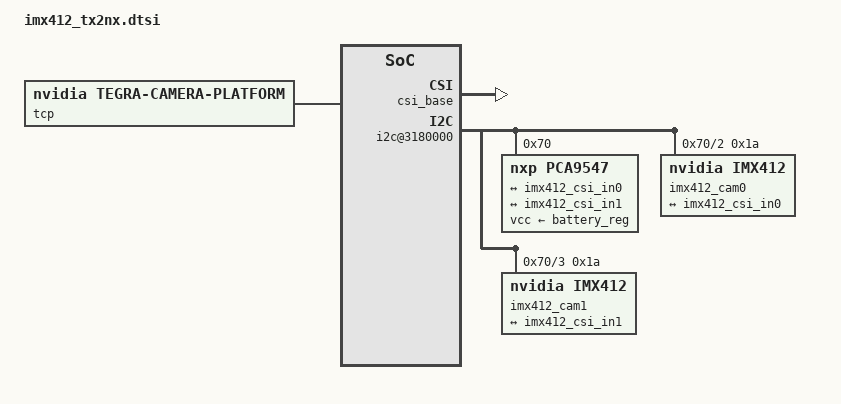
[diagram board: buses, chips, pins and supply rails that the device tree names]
/*
 * Copyright (c) 2018-2019, NVIDIA CORPORATION.  All rights reserved.
 *
 * This program is free software; you can redistribute it and/or modify
 * it under the terms of the GNU General Public License as published by
 * the Free Software Foundation; either version 2 of the License, or
 * (at your option) any later version.
 *
 * This program is distributed in the hope that it will be useful, but WITHOUT
 * ANY WARRANTY; without even the implied warranty of MERCHANTABILITY or
 * FITNESS FOR A PARTICULAR PURPOSE.  See the GNU General Public License for
 * more details.
 *
 * You should have received a copy of the GNU General Public License
 * along with this program.  If not, see <http://www.gnu.org/licenses/>.
 */

#define CAMERA_I2C_MUX_BUS(x) (0x1E + x)
#define NUM_LANES       2   /* CCC - imx412.dtsi - number of lanes: 2 or 4 */

#include <dt-bindings/media/camera.h>
#include <dt-bindings/platform/t210/t210.h>

#define CAM1_PWDN       TEGRA_GPIO(S, 7)
#define CAM2_PWDN       TEGRA_GPIO(T, 0)
#define CAM_I2C_MUX TEGRA_GPIO(I, 0) // NFC_EN GPIO


/*
Jetson Nano dual-port I2C busses:
aliases {
    i2c0 = "/i2c@7000c000";
    i2c1 = "/i2c@7000c400";
    i2c2 = "/i2c@7000c500";
    i2c3 = "/i2c@7000c700";
    i2c4 = "/i2c@7000d000";
    i2c5 = "/i2c@7000d100";
    i2c6 = "/host1x/i2c@546c0000";
    i2c7 = "/cam_i2cmux/i2c@0"
    i2c8 = "/cam_i2cmux/i2c@1"

};
*/
/ {
	host1x {
		sb3d_version = "1.2";
        vi_base: vi {			
	    status = "okay";
            num-channels = <2>;
            ports {
                #address-cells = <1>;
                #size-cells = <0>;
                vi_port0: port@0 {
                    reg = <0>;
                    imx412_vi_in0: endpoint {
                        port-index = <0>;
                        bus-width = <NUM_LANES>;
                        remote-endpoint = <&imx412_csi_out0>;
                    };
                };
                vi_port1: port@1 {
                    reg = <1>;
                    imx412_vi_in1: endpoint {
                        port-index = <4>;
                        bus-width = <NUM_LANES>;
                        remote-endpoint = <&imx412_csi_out1>;
                    };
                };
            };
        };

        csi_base: nvcsi {
            status = "okay";
	    num-channels = <2>;
            #address-cells = <1>;
            #size-cells = <0>;
            csi_chan0: channel@0 {
                reg = <0>;
                ports {
		    status = "okay";
                    #address-cells = <1>;
                    #size-cells = <0>;
                    csi_chan0_port0: port@0 {
                        status = "okay";
                        reg = <0>;
                        imx412_csi_in0: endpoint@0 {
                            port-index = <0>;
                            bus-width = <NUM_LANES>;
                            remote-endpoint = <&imx412_out0>;
                        };
                    };
                    csi_chan0_port1: port@1 {
                        status = "okay";
                        reg = <1>;
                        imx412_csi_out0: endpoint@1 {
                            remote-endpoint = <&imx412_vi_in0>;
                        };
                    };
                };
            };
            csi_chan1: channel@1 {
                status = "okay";
                reg = <1>;
                ports {
                    status = "okay";
                    #address-cells = <1>;
                    #size-cells = <0>;
                    csi_chan1_port0: port@2 {
                        status = "okay";
                        reg = <0>;
                        imx412_csi_in1: endpoint@2 {
                            port-index = <4>;
                            bus-width = <NUM_LANES>;
                            remote-endpoint = <&imx412_out1>;
                        };
                    };
                    csi_chan1_port1: port@3 {
                        status = "okay";
                        reg = <1>;
                        imx412_csi_out1: endpoint@1 {
                            remote-endpoint = <&imx412_vi_in1>;
                        };
                    };
                };
            };
        };
	};
	i2c@3180000 {
	 pca9547@70 {
		compatible = "nxp,pca9547";
        status = "okay";
		#address-cells = <1>;
		#size-cells = <0>;
		reg = <0x70>;
        vcc-supply = <&battery_reg>;
        force_bus_start = <CAMERA_I2C_MUX_BUS(0)>;

        imx412_i2c_2: i2c@2 {
            status = "okay";
            reg = <2>;
            i2c-mux,deselect-on-exit;
            #address-cells = <1>;
            #size-cells = <0>;

            imx412_cam0: imx412_a@1a {
                status = "okay";
				compatible = "nvidia,imx412";
                reg = <0x1a>;       /* I2C device address */
                physical_w = "6.249";
                physical_h = "4.712";
                sensor_model = "imx412";

                use_sensor_mode_id = "false"; // "true";

                devnode = "video0";
	//			reset-gpios = <&gpio CAM1_PWDN GPIO_ACTIVE_HIGH>;

                ports {
                    status = "okay";
                    #address-cells = <1>;
                    #size-cells = <0>;
                   
		    port@0 {
                        status = "okay";
                        reg = <0>;
                        imx412_out0: endpoint {
                            status = "okay";
                            port-index = <0>;
                            bus-width = <NUM_LANES>;
                            remote-endpoint = <&imx412_csi_in0>;
                        };
                    };
		};


                mode0 { // IMX412_MODE_4056X3040 20 FPS
                    status = "okay";
                    mclk_khz = "24000";
#if NUM_LANES == 4
                    num_lanes = "4";
#else
                    num_lanes = "2";
#endif
                    tegra_sinterface = "serial_a";
                    phy_mode = "DPHY";
                    discontinuous_clk = "no"; // "yes";
                    dpcm_enable = "false";
                    cil_settletime = "0";

                    active_w = "4032";
                    active_h = "3040";
                    pixel_t = "bayer_rggb";
//
                    readout_orientation = "90";
                    line_length = "4184";
                    inherent_gain = "1";
                    mclk_multiplier = "9.33";
                    pix_clk_hz = "182400000";
             //       pix_clk_hz = "364800000";
                   // 4032 * 3040 * 20 = 245145600 * 2 (2-bytes/pixel) = 490291200
//                    pix_clk_hz = "245145600";

                    gain_factor = "16";
                    min_gain_val = "256"; /* 1.00x */
                    max_gain_val = "4095"; /* 10.66x */
                    step_gain_val = "1";
                    default_gain = "256"; /* 1.00x */

                    min_hdr_ratio = "1";
                    max_hdr_ratio = "1";


                    framerate_factor = "1000000";
                    min_framerate = "4000000"; /* 4.0 fps */
                    max_framerate = "40000000"; /* 40.0 fps */
                    step_framerate = "1";
                    default_framerate = "20000000"; /* 20.0 fps */

                    exposure_factor = "1000000";
                    min_exp_time = "22";       /* us */
                    max_exp_time = "92693";    /* us */
                    step_exp_time = "1";
                    default_exp_time = "4000"; /* us */

                    embedded_metadata_height = "0";   // 219: "2"
                };        
            };
        };     

        imx412_i2c_3: i2c@3 {
            status = "okay";
            reg = <3>;
            i2c-mux,deselect-on-exit;
            #address-cells = <1>;
            #size-cells = <0>;

            imx412_cam1: imx412_b@1a {
                status = "okay";
                compatible = "nvidia,imx412";
                reg = <0x1a>;       /* I2C device address */
                physical_w = "6.249";
                physical_h = "4.712";
                sensor_model = "imx412";

                use_sensor_mode_id = "false"; // "true";

                devnode = "video1";
	//			reset-gpios = <&gpio CAM2_PWDN GPIO_ACTIVE_HIGH>;

                ports {
                    status = "okay";
                    #address-cells = <1>;
                    #size-cells = <0>;

                    port@0 {
                        status = "okay";
                        reg = <0>;
                        imx412_out1: endpoint {
                            status = "okay";
                            port-index = <0>;
                            bus-width = <NUM_LANES>;
                            remote-endpoint = <&imx412_csi_in1>;
                        };
                    };
                };


                mode0 { // IMX412_MODE_4056X3040 20 FPS
                    status = "okay";
                    mclk_khz = "24000";
#if NUM_LANES == 4
                    num_lanes = "4";
#else
                    num_lanes = "2";
#endif
                    tegra_sinterface = "serial_c";
                    phy_mode = "DPHY";
                    discontinuous_clk = "no"; // "yes";
                    dpcm_enable = "false";
                    cil_settletime = "0";

                    active_w = "4032";
                    active_h = "3040";
                    pixel_t = "bayer_rggb";
//
                    readout_orientation = "90";
                    line_length = "4184";
                    inherent_gain = "1";
                    mclk_multiplier = "9.33";
                    pix_clk_hz = "182400000";
             //       pix_clk_hz = "364800000";
                   // 4032 * 3040 * 20 = 245145600 * 2 (2-bytes/pixel) = 490291200
//                    pix_clk_hz = "245145600";

                    gain_factor = "16";
                    min_gain_val = "256"; /* 1.00x */
                    max_gain_val = "4095"; /* 10.66x */
                    step_gain_val = "1";
                    default_gain = "256"; /* 1.00x */

                    min_hdr_ratio = "1";
                    max_hdr_ratio = "1";


                    framerate_factor = "1000000";
                    min_framerate = "10000000"; /* 10.0 fps */
                    max_framerate = "20000000"; /* 20.0 fps */
                    step_framerate = "1";
                    default_framerate = "20000000"; /* 20.0 fps */

                    exposure_factor = "1000000";
                    min_exp_time = "22";       /* us */
                    max_exp_time = "92693";    /* us */
                    step_exp_time = "1";
                    default_exp_time = "4000"; /* us */

                    embedded_metadata_height = "0";   // 219: "2"
               };
            };
        };
    };
    };

};

/ {
    tcp: tegra-camera-platform {
        status = "okay";
        compatible = "nvidia, tegra-camera-platform";

        /**
        * Physical settings to calculate max ISO BW
        *
        * num_csi_lanes = <>;
        * Total number of CSI lanes when all cameras are active
        *
        * max_lane_speed = <>;
        * Max lane speed in Kbit/s
        *
        * min_bits_per_pixel = <>;
        * Min bits per pixel
        *
        * vi_peak_byte_per_pixel = <>;
        * Max byte per pixel for the VI ISO case
        *
        * vi_bw_margin_pct = <>;
        * Vi bandwidth margin in percentage
        *
        * max_pixel_rate = <>;
        * Max pixel rate in Kpixel/s for the ISP ISO case
        *
        * isp_peak_byte_per_pixel = <>;
        * Max byte per pixel for the ISP ISO case
        *
        * isp_bw_margin_pct = <>;
        * Isp bandwidth margin in percentage
        */
        num_csi_lanes = <8>;
        max_lane_speed = <1500000>;
        min_bits_per_pixel = <10>;
        vi_peak_byte_per_pixel = <2>;
        vi_bw_margin_pct = <25>;
        max_pixel_rate = <240000>;
        isp_peak_byte_per_pixel = <5>;
        isp_bw_margin_pct = <25>;

        /**
         * The general guideline for naming badge_info contains 3 parts, and is as follows,
         * The first part is the camera_board_id for the module; if the module is in a FFD
         * platform, then use the platform name for this part.
         * The second part contains the position of the module, ex. "rear" or "front".
         * The third part contains the last 6 characters of a part number which is found
         * in the module's specsheet from the vendor.
         */
        modules {
	    status = "okay";
            cam_module0: module0 {
 		status = "okay";
                badge = "porg_front_RBPCV2";
                position = "front";
                orientation = "0";
                cam_module0_drivernode0: drivernode0 {
        	    /* Declare PCL support driver (classically known as guid)  */
                    pcl_id = "v4l2_sensor";
                    devname = "imx412 32-001a";
                    proc-device-tree =
						"/proc/device-tree/i2c@3180000/pca9547@70/i2c@2/imx412_a@1a";
                };
            };
            cam_module1: module1 {
                status = "okay";
                badge = "porg_rear_RBPCV2";
                position = "rear";
                orientation = "1";
                cam_module1_drivernode0: drivernode0 {
                    pcl_id = "v4l2_sensor";
                    devname = "imx412 33-001a";
                    proc-device-tree = 	
						"/proc/device-tree/i2c@3180000/pca9547@70/i2c@3/imx412_b@1a";
                };
            };
        };
    };
};






#if 0
/ {
	gpio {
        camera-control-output-low {
            gpio-hog;
            output-low;
            gpios = < CAM1_PWDN 0  CAM2_PWDN 0>;
            label = "cam1-pwdn", "cam2-pwdn";
        };
    };
};


/ {
    plugin-manager {
// Fragment VC_MIPI IMX327C dual sensor
        fragement@9 {
            ids = ">=3448-0000-300", ">=3448-0002-300";

//            override@0 {
//                target = <&{/pcie@1003000/pci@2,0}>;
//                _overlay_ {
//                    nvidia,plat-gpios = <&gpio TEGRA_GPIO(CC, 7) GPIO_ACTIVE_HIGH>;
//                };
//            };
//            override@1 {
//                target = <&sdhci2>;
//                _overlay_ {
//                    vqmmc-supply = <&max77620_ldo6>;
//                    no-sdio;
//                    no-mmc;
//                    sd-uhs-sdr104;
//                    sd-uhs-sdr50;
//                    sd-uhs-sdr25;
//                    sd-uhs-sdr12;
//                };
//            };
//            override@2 {
//                target = <&throttle_oc1>;
//                _overlay_ {
//                    nvidia,priority = <50>;
//                    nvidia,polarity-active-low = <1>;
//                    nvidia,count-threshold = <1>;
//                    nvidia,alarm-filter = <5100000>;
//                    nvidia,alarm-period = <0>;
//                    nvidia,cpu-throt-percent = <75>;
//                    nvidia,gpu-throt-level =
//                        <TEGRA_SOCTHERM_THROT_LEVEL_HIGH>;
//                };
//            };
//            override@3 {
//                target = <&{/leds}>;
//                _overlay_ {
//                    status = "okay";
//                };
//            };

            /* IMX412 dual sensor module */
            override@4 {
                target = <&imx412_cam0>;
                _overlay_ {
                    status = "okay";
                };
            };
            override@5 {
                target = <&cam_module0>;
                _overlay_ {
                    status = "okay";
                    badge = "porg_front_RBPCV2";
                    position = "front";
                    orientation = "1";
                };
            };
            override@6 {
                target = <&cam_module0_drivernode0>;
                _overlay_ {
                    status = "okay";
                    pcl_id = "v4l2_sensor";
                    devname = "imx412 7-001a";
					proc-device-tree = "/proc/device-tree/host1x/i2c@546c0000/pca9547@70/i2c@2/imx412_a@1a";
                };
            };
            override@7 {
                target = <&cam_module0_drivernode1>;
                _overlay_ {
                    status = "okay";
                    pcl_id = "v4l2_lens";
                    proc-device-tree = "/proc/device-tree/lens_imx412@RBPCV2/";
                };
            };
            override@8 {
                target = <&imx412_cam1>;
                _overlay_ {
                    status = "okay";
                };
            };
            override@9 {
                target = <&cam_module1>;
                _overlay_ {
                    status = "okay";
                    badge = "porg_rear_RBPCV2";
                    position = "rear";
                    orientation = "1";
                };
            };
            override@10 {
                target = <&cam_module1_drivernode0>;
                _overlay_ {
                    status = "okay";
                    pcl_id = "v4l2_sensor";
                    devname = "imx412 8-001a";
					proc-device-tree = "/proc/device-tree/host1x/i2c@546c0000/pca9547@70/i2c@3/imx412_e@1a";
                };
            };
            override@11 {
                target = <&cam_module1_drivernode1>;
                _overlay_ {
                    status = "okay";
                    pcl_id = "v4l2_lens";
                    proc-device-tree = "/proc/device-tree/lens_imx412@RBPCV2/";
                };
            };
            /* Enable VI ports */
            override@12 {
                target = <&vi_base>;
                _overlay_ {
                    num-channels=<2>;
                };
            };
            override@13 {
                target = <&vi_port0>;
                _overlay_ {
                    status = "okay";
                };
            };
            override@14 {
                target = <&vi_port1>;
                _overlay_ {
                    status = "okay";
                };
            };
            override@15 {
                target = <&imx412_vi_in0>;
                _overlay_ {
                    status = "okay";
                    port-index = <0>;
                    bus-width = <NUM_LANES>;
                    remote-endpoint = <&imx412_csi_out0>;
                };
            };
            override@16 {
                target = <&imx412_vi_in1>;
                _overlay_ {
                    status = "okay";
                    port-index = <4>;
                    bus-width = <NUM_LANES>;
                    remote-endpoint = <&imx412_csi_out1>;
                };
            };
            /* Enable CSI ports */
            override@17 {
                target = <&csi_base>;
                _overlay_ {
                    num-channels = <2>;
                };
            };
            override@18 {
                target = <&csi_chan0>;
                _overlay_ {
                    status = "okay";
                };
            };
            override@19 {
                target = <&csi_chan0_port0>;
                _overlay_ {
                    status = "okay";
                };
            };
            override@20 {
                target = <&imx412_csi_in0>;
                _overlay_ {
                    status = "okay";
                    port-index = <0>;
                    bus-width = <NUM_LANES>;
                    remote-endpoint = <&imx412_out0>;
                };
            };
            override@21 {
                target = <&csi_chan0_port1>;
                _overlay_ {
                    status = "okay";
                };
            };
            override@22 {
                target = <&imx412_csi_out0>;
                _overlay_ {
                    status = "okay";
                };
            };
            override@23 {
                target = <&csi_chan1>;
                _overlay_ {
                    status = "okay";
                };
            };
            override@24 {
                target = <&csi_chan1_port0>;
                _overlay_ {
                    status = "okay";
                };
            };
            override@25 {
                target = <&imx412_csi_in1>;
                _overlay_ {
                    status = "okay";
                    port-index = <4>;
                    bus-width = <NUM_LANES>;
                    remote-endpoint = <&imx412_out1>;
                };
            };
            override@26 {
                target = <&csi_chan1_port1>;
                _overlay_ {
                    status = "okay";
                };
            };
            override@27 {
                target = <&imx412_csi_out1>;
                _overlay_ {
                    status = "okay";
                };
            };
            /* tegra-camera-platform settings */
            override@28 {
                target = <&tcp>;
                _overlay_ {
                    num_csi_lanes = <4>;
                    max_lane_speed = <1500000>;
                    min_bits_per_pixel = <10>;
                    vi_peak_byte_per_pixel = <2>;
                    vi_bw_margin_pct = <25>;
                    max_pixel_rate = <240000>;
                    isp_peak_byte_per_pixel = <5>;
                    isp_bw_margin_pct = <25>;
                };
            };
            override@30 {
                target = <&imx412_i2c_0>;
                _overlay_ {
                    status = "okay";
                };
            };
            override@31 {
                target = <&imx412_i2c_1>;
                _overlay_ {
                    status = "okay";
                };
            };
        };

    };
};






                /**
                * ==== Modes ====
                * A modeX node is required to support v4l2 driver
                * implementation with NVIDIA camera software stack
                *
                * == Signal properties ==
                *
                * phy_mode = "";
                * PHY mode used by the MIPI lanes for this device
                *
                * tegra_sinterface = "";
                * CSI Serial interface connected to tegra
                * Incase of virtual HW devices, use virtual
                * For SW emulated devices, use host
                *
                * pix_clk_hz = "";
                * Sensor pixel clock used for calculations like exposure and framerate
                *
                * readout_orientation = "0";
                * Based on camera module orientation.
                * Only change readout_orientation if you specifically
                * Program a different readout order for this mode
                *
                * == Image format Properties ==
                *
                * active_w = "";
                * Pixel active region width
                *
                * active_h = "";
                * Pixel active region height
                *
                * pixel_t = "";
                * The sensor readout pixel pattern
                *
                * line_length = "";
                * Pixel line length (width) for sensor mode.
                *
                * == Source Control Settings ==
                *
                * Gain factor used to convert fixed point integer to float
                * Gain range [min_gain/gain_factor, max_gain/gain_factor]
                * Gain step [step_gain/gain_factor is the smallest step that can be configured]
                * Default gain [Default gain to be initialized for the control.
                *     use min_gain_val as default for optimal results]
                * Framerate factor used to convert fixed point integer to float
                * Framerate range [min_framerate/framerate_factor, max_framerate/framerate_factor]
                * Framerate step [step_framerate/framerate_factor is the smallest step that can be configured]
                * Default Framerate [Default framerate to be initialized for the control.
                *     use max_framerate to get required performance]
                * Exposure factor used to convert fixed point integer to float
                * For convenience use 1 sec = 1000000us as conversion factor
                * Exposure range [min_exp_time/exposure_factor, max_exp_time/exposure_factor]
                * Exposure step [step_exp_time/exposure_factor is the smallest step that can be configured]
                * Default Exposure Time [Default exposure to be initialized for the control.
                *     Set default exposure based on the default_framerate for optimal exposure settings]
                *
                * gain_factor = ""; (integer factor used for floating to fixed point conversion)
                * min_gain_val = ""; (ceil to integer)
                * max_gain_val = ""; (ceil to integer)
                * step_gain_val = ""; (ceil to integer)
                * default_gain = ""; (ceil to integer)
                * Gain limits for mode
                *
                * exposure_factor = ""; (integer factor used for floating to fixed point conversion)
                * min_exp_time = ""; (ceil to integer)
                * max_exp_time = ""; (ceil to integer)
                * step_exp_time = ""; (ceil to integer)
                * default_exp_time = ""; (ceil to integer)
                * Exposure Time limits for mode (sec)
                *
                * framerate_factor = ""; (integer factor used for floating to fixed point conversion)
                * min_framerate = ""; (ceil to integer)
                * max_framerate = ""; (ceil to integer)
                * step_framerate = ""; (ceil to integer)
                * default_framerate = ""; (ceil to integer)
                * Framerate limits for mode (fps)
                *
                * embedded_metadata_height = "";
                * Sensor embedded metadata height in units of rows.
                * If sensor does not support embedded metadata value should be 0.
                */
                /**
                * ==== Modes ====
                * A modeX node is required to support v4l2 driver
                * implementation with NVIDIA camera software stack
                *
                * == Signal properties ==
                *
                * phy_mode = "";
                * PHY mode used by the MIPI lanes for this device
                *
                * tegra_sinterface = "";
                * CSI Serial interface connected to tegra
                * Incase of virtual HW devices, use virtual
                * For SW emulated devices, use host
                *
                * pix_clk_hz = "";
                * Sensor pixel clock used for calculations like exposure and framerate
                *
                * readout_orientation = "0";
                * Based on camera module orientation.
                * Only change readout_orientation if you specifically
                * Program a different readout order for this mode
                *
                * == Image format Properties ==
                *
                * active_w = "";
                * Pixel active region width
                *
                * active_h = "";
                * Pixel active region height
                *
                * pixel_t = "";
                * The sensor readout pixel pattern
                *
                * line_length = "";
                * Pixel line length (width) for sensor mode.
                *
                * == Source Control Settings ==
                *
                * Gain factor used to convert fixed point integer to float
                * Gain range [min_gain/gain_factor, max_gain/gain_factor]
                * Gain step [step_gain/gain_factor is the smallest step that can be configured]
                * Default gain [Default gain to be initialized for the control.
                *     use min_gain_val as default for optimal results]
                * Framerate factor used to convert fixed point integer to float
                * Framerate range [min_framerate/framerate_factor, max_framerate/framerate_factor]
                * Framerate step [step_framerate/framerate_factor is the smallest step that can be configured]
                * Default Framerate [Default framerate to be initialized for the control.
                *     use max_framerate to get required performance]
                * Exposure factor used to convert fixed point integer to float
                * For convenience use 1 sec = 1000000us as conversion factor
                * Exposure range [min_exp_time/exposure_factor, max_exp_time/exposure_factor]
                * Exposure step [step_exp_time/exposure_factor is the smallest step that can be configured]
                * Default Exposure Time [Default exposure to be initialized for the control.
                *     Set default exposure based on the default_framerate for optimal exposure settings]
                *
                * gain_factor = ""; (integer factor used for floating to fixed point conversion)
                * min_gain_val = ""; (ceil to integer)
                * max_gain_val = ""; (ceil to integer)
                * step_gain_val = ""; (ceil to integer)
                * default_gain = ""; (ceil to integer)
                * Gain limits for mode
                *
                * exposure_factor = ""; (integer factor used for floating to fixed point conversion)
                * min_exp_time = ""; (ceil to integer)
                * max_exp_time = ""; (ceil to integer)
                * step_exp_time = ""; (ceil to integer)
                * default_exp_time = ""; (ceil to integer)
                * Exposure Time limits for mode (sec)
                *
                * framerate_factor = ""; (integer factor used for floating to fixed point conversion)
                * min_framerate = ""; (ceil to integer)
                * max_framerate = ""; (ceil to integer)
                * step_framerate = ""; (ceil to integer)
                * default_framerate = ""; (ceil to integer)
                * Framerate limits for mode (fps)
                *
                * embedded_metadata_height = "";
                * Sensor embedded metadata height in units of rows.
                * If sensor does not support embedded metadata value should be 0.
                */


#endif
